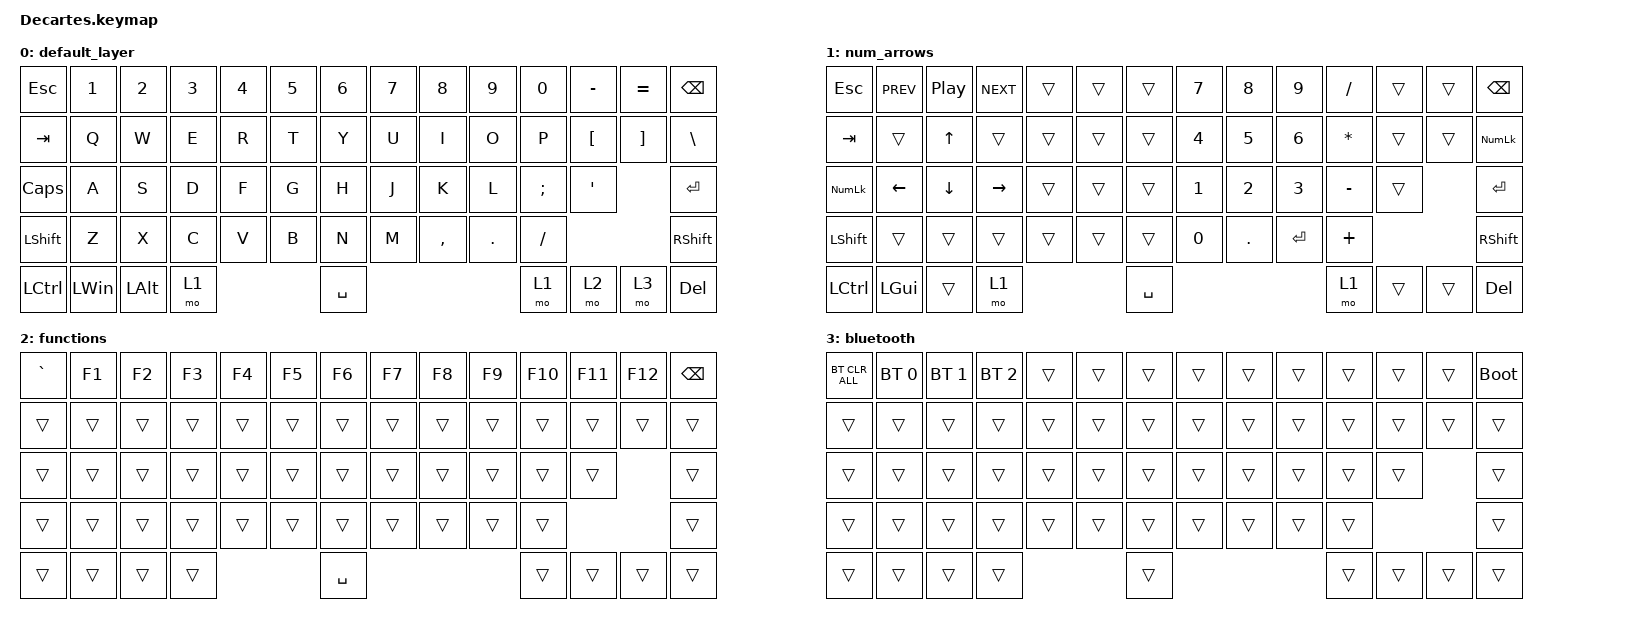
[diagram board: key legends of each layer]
#include <behaviors.dtsi>
#include <dt-bindings/zmk/bt.h>
#include <dt-bindings/zmk/keys.h>

#include "zmk-helpers/helper.h"
#include "zmk-helpers/unicode-chars/greek.dtsi"

#define DEFAULT 0

/ {
    keymap {
        compatible = "zmk,keymap";

        default_layer {
            bindings = <
&kp ESC    &kp N1    &kp N2    &kp N3  &kp N4  &kp N5  &kp N6             &kp N7  &kp N8     &kp N9   &kp N0    &kp MINUS  &kp EQUAL  &kp BSPC
&kp TAB    &kp Q     &kp W     &kp E   &kp R   &kp T   &kp Y              &kp U   &kp I      &kp O    &kp P     &kp LBKT   &kp RBKT   &kp BSLH
&kp CAPS   &kp A     &kp S     &kp D   &kp F   &kp G   &kp H              &kp J   &kp K      &kp L    &kp SEMI  &kp SQT               &kp ENTER
&kp LSHFT  &kp Z     &kp X     &kp C   &kp V   &kp B   &kp N              &kp M   &kp COMMA  &kp DOT  &kp FSLH                        &kp RSHFT
&kp LCTRL  &kp LWIN  &kp LALT  &mo 1                           &kp SPACE                              &mo 1     &mo 2      &mo 3      &kp DEL
            >;
        };

        num_arrows {
            bindings = <
&kp ESC         &kp C_PREV  &kp C_PLAY_PAUSE  &kp C_NEXT  &trans  &trans  &trans             &kp N7  &kp N8   &kp N9   &kp FSLH   &trans  &trans  &kp BSPC
&kp TAB         &trans      &kp UP            &trans      &trans  &trans  &trans             &kp N4  &kp N5   &kp N6   &kp STAR   &trans  &trans  &kp KP_NUMLOCK
&kp KP_NUMLOCK  &kp LEFT    &kp DOWN          &kp RIGHT   &trans  &trans  &trans             &kp N1  &kp N2   &kp N3   &kp MINUS  &trans          &kp RET
&kp LSHFT       &trans      &trans            &trans      &trans  &trans  &trans             &kp N0  &kp DOT  &kp RET  &kp PLUS                   &kp RSHFT
&kp LCTRL       &kp LGUI    &trans            &mo 1                               &kp SPACE                            &mo 1      &trans  &trans  &kp DEL
            >;
        };

        functions {
            bindings = <
&kp GRAVE  &kp F1  &kp F2  &kp F3  &kp F4  &kp F5  &kp F6             &kp F7  &kp F8  &kp F9  &kp F10  &kp F11  &kp F12  &kp BSPC
&trans     &trans  &trans  &trans  &trans  &trans  &trans             &trans  &trans  &trans  &trans   &trans   &trans   &trans
&trans     &trans  &trans  &trans  &trans  &trans  &trans             &trans  &trans  &trans  &trans   &trans            &trans
&trans     &trans  &trans  &trans  &trans  &trans  &trans             &trans  &trans  &trans  &trans                     &trans
&trans     &trans  &trans  &trans                          &kp SPACE                          &trans   &trans   &trans   &trans
            >;
        };

        bluetooth {
            bindings = <
&bt BT_CLR_ALL  &bt BT_SEL 0  &bt BT_SEL 1  &bt BT_SEL 2  &trans  &trans  &trans          &trans  &trans  &trans  &trans  &trans  &trans  &bootloader
&trans          &trans        &trans        &trans        &trans  &trans  &trans          &trans  &trans  &trans  &trans  &trans  &trans  &trans
&trans          &trans        &trans        &trans        &trans  &trans  &trans          &trans  &trans  &trans  &trans  &trans          &trans
&trans          &trans        &trans        &trans        &trans  &trans  &trans          &trans  &trans  &trans  &trans                  &trans
&trans          &trans        &trans        &trans                                &trans                          &trans  &trans  &trans  &trans
            >;
        };
    };
};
